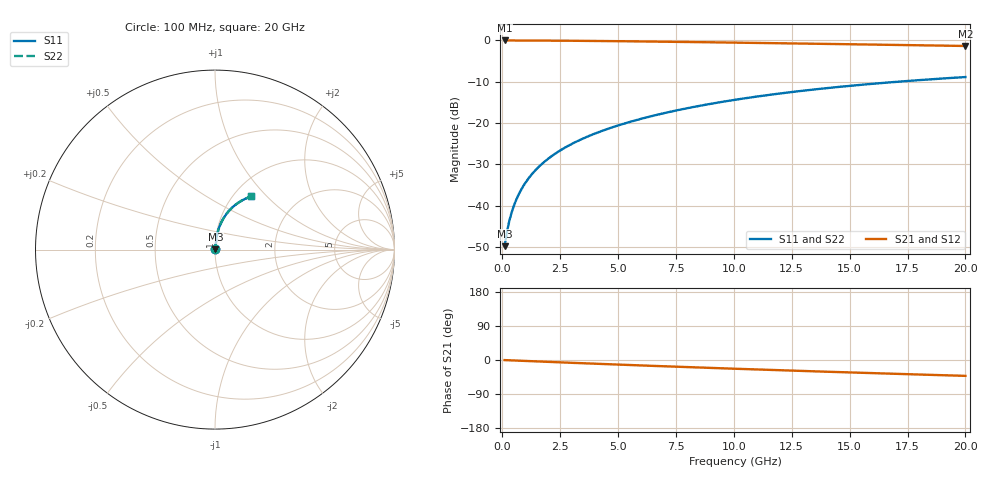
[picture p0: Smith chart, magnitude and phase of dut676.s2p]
! Touchstone file exported from HFSS 2024.1.0
!  File:  C:/UserFiles/LocalFiles/RDL_TSV_Batchsim/temp_RDL_bottom_676_1779786397.aedt
!  Generated:  05:09:05 PM May 26, 2026
!  Design:  RDL_bottom
!  Project:  temp_RDL_bottom_676_1779786397
!  Setup:  Setup1
!  Solution:  Sweep
! Variables:
!  dtsv = 10.80580581um
!  hbump = 3um
!  htsv = 92.06um
!  ldown = 629.92um
!  lrdl = 100um
!  p = 40
!  p1 = 43.88um
!  rhole = 1um
!  t = 450um
!  tdown = 4.89um
!  trdl = 3.915915916um
!  wdown = 19.47um
!  wrdl = 20um
# GHz S MA R 50.000000
! Terminal data exported
! Port[1] = RDL1_T1
! Port[2] = RDL1_T2
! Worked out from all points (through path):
!   200 points, 100 MHz to 20 GHz, reference 50 ohm
!   highest |S21| = -0.02 dB at 100 MHz (marker M1); lowest = -1.4 dB at 20 GHz (marker M2)
!   group delay of S21, straight-line fit = 5.78 ps
!   lowest |S11| = -49.8 dB at 100 MHz (marker M3), VSWR 1.01, Z = 50.2 + j0.204 ohm
!   |S11| at or under -10 dB: start of sweep to 17.12 GHz
!   |S22| runs from -49.8 to -8.9 dB; largest |S21 - S12| = 2e-14
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0.1  0.003218 39.2  0.9975 -0.3  0.9975 -0.3  0.003218 39.2
! Gamma 0 0 0 0
! Port Impedance 50 0 50 0
0.2  0.004767 56.3  0.9973 -0.5  0.9973 -0.5  0.004767 56.3
0.3  0.006453 64.5  0.9972 -0.8  0.9972 -0.8  0.006453 64.5
0.4  0.008175 69.3  0.997 -1.0  0.997 -1.0  0.008175 69.3
0.5  0.009921 72.5  0.9969 -1.3  0.9969 -1.3  0.009921 72.5
0.6  0.01169 74.8  0.9967 -1.5  0.9967 -1.5  0.01169 74.8
0.8  0.01526 77.8  0.9964 -2.0  0.9964 -2.0  0.01526 77.8
1.1  0.0207 80.2  0.9959 -2.8  0.9959 -2.8  0.0207 80.2
1.5  0.02801 81.8  0.9949 -3.8  0.9949 -3.8  0.02801 81.8
1.8  0.03351 82.4  0.9941 -4.5  0.9941 -4.5  0.03351 82.4
2.1  0.03903 82.7  0.993 -5.2  0.993 -5.2  0.03903 82.7
2.7  0.05011 82.9  0.9906 -6.7  0.9906 -6.7  0.05011 82.9
3.5  0.06497 82.7  0.9867 -8.6  0.9867 -8.6  0.06497 82.7
4.2  0.07808 82.2  0.9827 -10.3  0.9827 -10.3  0.07808 82.2
5  0.0932 81.4  0.9777 -12.1  0.9777 -12.1  0.0932 81.4
6.8  0.1277 79.2  0.965 -16.2  0.965 -16.2  0.1277 79.2
8.4  0.1588 76.7  0.9527 -19.6  0.9527 -19.6  0.1588 76.7
10.1  0.1917 73.8  0.9389 -23.2  0.9389 -23.2  0.1916 73.8
11.7  0.222 70.9  0.9256 -26.4  0.9256 -26.4  0.2219 70.9
13.4  0.2531 67.8  0.9113 -29.8  0.9113 -29.8  0.2531 67.8
16.7  0.3095 61.6  0.8832 -36.0  0.8832 -36.0  0.3094 61.6
20  0.3595 55.6  0.8554 -41.9  0.8554 -41.9  0.3595 55.6
